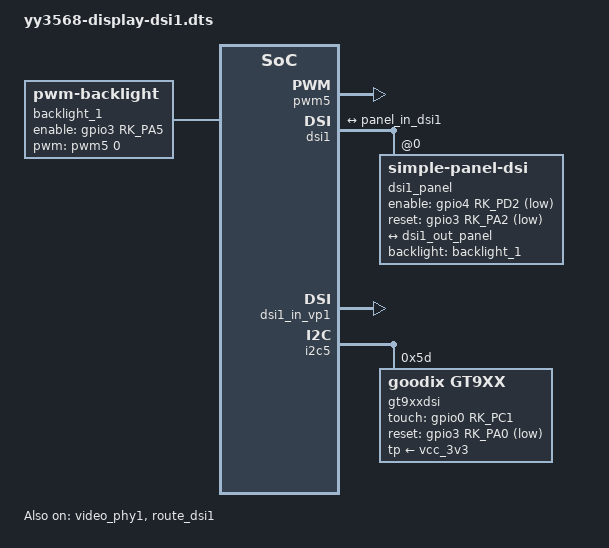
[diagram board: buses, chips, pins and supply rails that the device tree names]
/dts-v1/;
/plugin/;

#include <dt-bindings/gpio/gpio.h>
#include <dt-bindings/pinctrl/rockchip.h>
#include <dt-bindings/display/drm_mipi_dsi.h>
#include <dt-bindings/interrupt-controller/irq.h>

/ {
	metadata {
		title ="Enable YY3568 DSI1";
		compatible = "youyeetoo,yy3568";
	};

    fragment@0 {
		target-path = "/";

		__overlay__ {
			backlight_1: backlight-1 {
		        compatible = "pwm-backlight";
		        pwms = <&pwm5 0 25000 0>;
		        brightness-levels = <
		        0  20  20  21  21  22  22  23
		        23  24  24  25  25  26  26  27
		        27  28  28  29  29  30  30  31
		        31  32  32  33  33  34  34  35
		        35  36  36  37  37  38  38  39
		        40  41  42  43  44  45  46  47
		        48  49  50  51  52  53  54  55
		        56  57  58  59  60  61  62  63
		        64  65  66  67  68  69  70  71
		        72  73  74  75  76  77  78  79
		        80  81  82  83  84  85  86  87
		        88  89  90  91  92  93  94  95
		        96  97  98  99 100 101 102 103
		        104 105 106 107 108 109 110 111
		        112 113 114 115 116 117 118 119
		        120 121 122 123 124 125 126 127
		        128 129 130 131 132 133 134 135
		        136 137 138 139 140 141 142 143
		        144 145 146 147 148 149 150 151
		        152 153 154 155 156 157 158 159
		        160 161 162 163 164 165 166 167
		        168 169 170 171 172 173 174 175
		        176 177 178 179 180 181 182 183
		        184 185 186 187 188 189 190 191
		        192 193 194 195 196 197 198 199
		        200 201 202 203 204 205 206 207
		        208 209 210 211 212 213 214 215
		        216 217 218 219 220 221 222 223
		        224 225 226 227 228 229 230 231
		        232 233 234 235 236 237 238 239
		        240 241 242 243 244 245 246 247
		        248 249 250 251 252 253 254 255
		        >;
		        default-brightness-level = <200>;

		        enable-gpios = <&gpio3 RK_PA5 GPIO_ACTIVE_HIGH>;
	        };
		};
	};

    fragment@1 {
        target = <&pwm5>;

        __overlay__ {
			status = "okay";
		};
    };

    fragment@2 {
        target = <&dsi1>;

        __overlay__ {
			status = "okay";
			#address-cells = <1>;
			#size-cells = <0>;
            
            dsi1_panel: panel@0 {
		        status = "okay";
		        compatible = "simple-panel-dsi";
		        reg = <0>;
		        backlight = <&backlight_1>;

		        enable-gpios = <&gpio4 RK_PD2 GPIO_ACTIVE_LOW>;
		        reset-gpios = <&gpio3 RK_PA2 GPIO_ACTIVE_LOW>;
		        reset-delay-ms = <60>;
		        enable-delay-ms = <60>;
		        prepare-delay-ms = <60>;
		        unprepare-delay-ms = <60>;
		        disable-delay-ms = <60>;
		        dsi,flags = <(MIPI_DSI_MODE_VIDEO | MIPI_DSI_MODE_VIDEO_BURST |
		        MIPI_DSI_MODE_LPM | MIPI_DSI_MODE_EOT_PACKET)>;
		        dsi,format = <MIPI_DSI_FMT_RGB888>;
		        dsi,lanes  = <4>;
		        panel-init-sequence = [
		        15 00 02 80 ac
		        15 00 02 81 b8
		        15 00 02 82 09
		        15 00 02 83 78
		        15 00 02 84 7f
		        15 00 02 85 bb
		        15 00 02 86 70
		        ];

		        panel-exit-sequence = [
		        05 00 01 28
		        05 00 01 10
		        ];


		        ports {
			        #address-cells = <1>;
			        #size-cells = <0>;

			        port@0 {
				        reg = <0>;
				        panel_in_dsi1: endpoint {
					        remote-endpoint = <&dsi1_out_panel>;
				        };
			        };
		        };
	        };

	        ports {
		        #address-cells = <1>;
		        #size-cells = <0>;

		        port@1 {
			        reg = <1>;
			        dsi1_out_panel: endpoint {
				        remote-endpoint = <&panel_in_dsi1>;
			        };
		        };
	        };
		};
    };

    fragment@3 {
        target = <&dsi1_in_vp1>;

        __overlay__ {
			status = "okay";
		};
    };

    fragment@4 {
        target = <&i2c5>;

        __overlay__ {
			status = "okay";
			#address-cells = <1>;
			#size-cells = <0>;
	
            gt9xxdsi: gt9xx@5d {
		        compatible = "goodix,gt9xx";
		        reg = <0x5d>;
		        touch-gpio = <&gpio0 RK_PC1 IRQ_TYPE_EDGE_RISING>;
		        reset-gpio = <&gpio3 RK_PA0 GPIO_ACTIVE_LOW>;
		        max-x = <1024>;
		        max-y = <600>;
		        tp-size = <911>;
		        pinctrl-names = "default";
		        pinctrl-0 = <&touch_gpio>;
		        tp-supply = <&vcc_3v3>;
		        status = "okay";
	        };
		};
    };

    fragment@5 {
        target = <&video_phy1>;

        __overlay__ {
			status = "okay";
		};
    };

    fragment@6 {
        target = <&route_dsi1>;

        __overlay__ {
			status = "okay";
            connect = <&vp1_out_dsi1>;
		};
    };

    fragment@7 {
        target = <&dsi1_timing0>;

        __overlay__ {
			clock-frequency = <65000000>; //DCLK
	        hactive = <1024>;             //hactive
	        vactive = <600>;              //vactive
	        hfront-porch = <160>;         //hfp
	        hback-porch = <160>;          //hbp
	        hsync-len = <10>;             //hsa
	        vfront-porch = <12>;          //vfp
	        vsync-len = <1>;              //vsa
	        vback-porch = <23>;           //vbp
	        hsync-active = <0>;           //hync 极性控制 置 1 反转极性
	        vsync-active = <0>;           //vsync 极性控制 置 1 反转极性
	        de-active = <1>;              //DEN 极性控制
	        pixelclk-active = <0>;        //dclk 极性控制
		};
    };

    fragment@8 {
        target = <&disp_timings1>;

        __overlay__ {
			native-mode = <&dsi1_timing0>;
		};
    };

    fragment@9 {
        target = <&pinctrl>;

        __overlay__ {
			touch {
		        touch_gpio: touch-gpio {
			        rockchip,pins =
			            <0 RK_PC1 RK_FUNC_GPIO &pcfg_pull_up>,
			            <3 RK_PA0 RK_FUNC_GPIO &pcfg_pull_none>;
		        };
	        };
		};
    };
};
